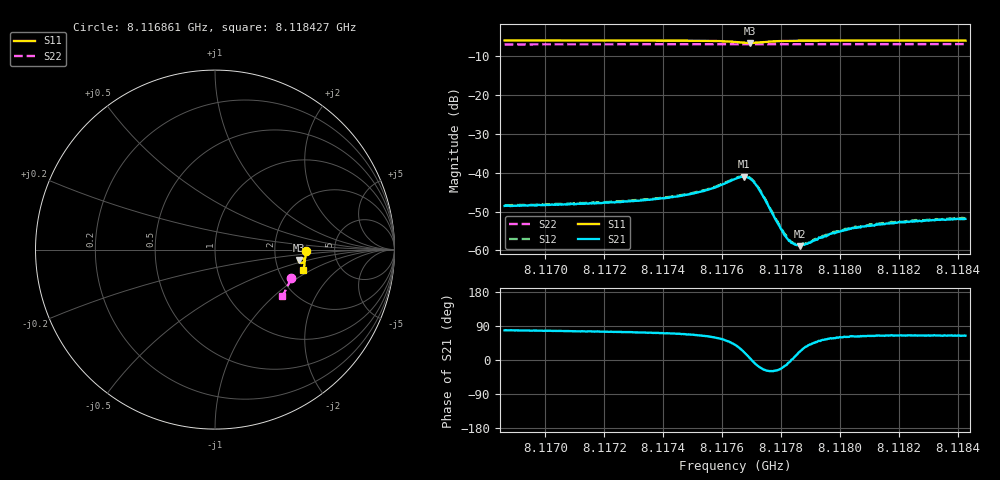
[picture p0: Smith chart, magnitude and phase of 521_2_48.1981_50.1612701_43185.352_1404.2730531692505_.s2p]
#  HZ  S  RI  R  50.00
! Rohde & Schwarz Vector Network Analyzer
! Rohde-Schwarz,ZNB20-2Port,1311601062101988,3.16
! Created: UTC 3/20/2024, 11:59:22 AM
! freq[Hz]  re:S11  im:S11  re:S21  im:S21  re:S12  im:S12  re:S22  im:S22
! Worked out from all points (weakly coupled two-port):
!   401 points, 8.116861 GHz to 8.118427 GHz, reference 50 ohm
!   highest |S21| = -40.98 dB at 8.117675 GHz (marker M1); lowest = -58.9 dB at 8.117863 GHz (marker M2)
!   lowest |S11| = -6.6 dB at 8.117695 GHz (marker M3), VSWR 2.77, Z = 135 - j20.3 ohm
!   |S11| at or under -10 dB: nowhere
!   |S22| runs from -6.9 to -6.8 dB; largest |S21 - S12| = 0.00023
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8.1168613e9  0.5067 -0.00512  0.000754 0.00366  0.000773 0.00373  0.422 -0.1593
8.1171235e9  0.5056 -0.0257  0.000966 0.00387  0.00105 0.00391  0.4158 -0.1764
8.1172566e9  0.5044 -0.0366  0.00114 0.00404  0.00124 0.00412  0.4124 -0.1851
8.1173857e9  0.5029 -0.0479  0.00149 0.00437  0.00154 0.00447  0.4089 -0.1935
8.1174718e9  0.5006 -0.0563  0.00189 0.00477  0.00198 0.00486  0.4064 -0.1991
8.1175423e9  0.4973 -0.0643  0.00266 0.00528  0.00271 0.00536  0.4042 -0.2038
8.1175853e9  0.493 -0.0697  0.00355 0.00563  0.0037 0.00574  0.4029 -0.2064
8.117644e9  0.4794 -0.0749  0.00637 0.00538  0.00656 0.00545  0.4005 -0.2101
8.1176753e9  0.4684 -0.0682  0.00837 0.00311  0.00859 0.00311  0.3992 -0.2115
8.1176949e9  0.4664 -0.0584  0.0084 0.000669  0.00858 0.000649  0.3985 -0.2122
8.1177106e9  0.47 -0.0511  0.00732 -0.00105  0.00751 -0.00113  0.3985 -0.2129
8.1177262e9  0.4762 -0.0471  0.00579 -0.0019  0.00591 -0.00196  0.3983 -0.2136
8.1177928e9  0.4942 -0.0537  0.00192 -0.000914  0.002 -0.000939  0.3972 -0.2181
8.1178202e9  0.4966 -0.0583  0.00141 -0.00031  0.00149 -0.000309  0.3961 -0.2202
8.1178397e9  0.4975 -0.0613  0.00124 5.23e-05  0.00126 9.69e-05  0.3956 -0.2214
8.1178632e9  0.4983 -0.0645  0.00106 0.000415  0.00108 0.000422  0.395 -0.2229
8.1178906e9  0.4986 -0.0679  0.000971 0.000741  0.00101 0.00076  0.3942 -0.2247
8.1179063e9  0.4988 -0.0697  0.00095 0.000892  0.000966 0.000907  0.3937 -0.2257
8.1179728e9  0.4987 -0.0768  0.000904 0.00138  0.00093 0.00138  0.3914 -0.2299
8.1180354e9  0.4981 -0.0826  0.000881 0.0017  0.000954 0.00168  0.3893 -0.2339
8.1181685e9  0.4965 -0.0939  0.000962 0.00201  0.000962 0.00203  0.3847 -0.242
8.1184268e9  0.4922 -0.1141  0.00111 0.00229  0.00116 0.00235  0.3753 -0.2577
